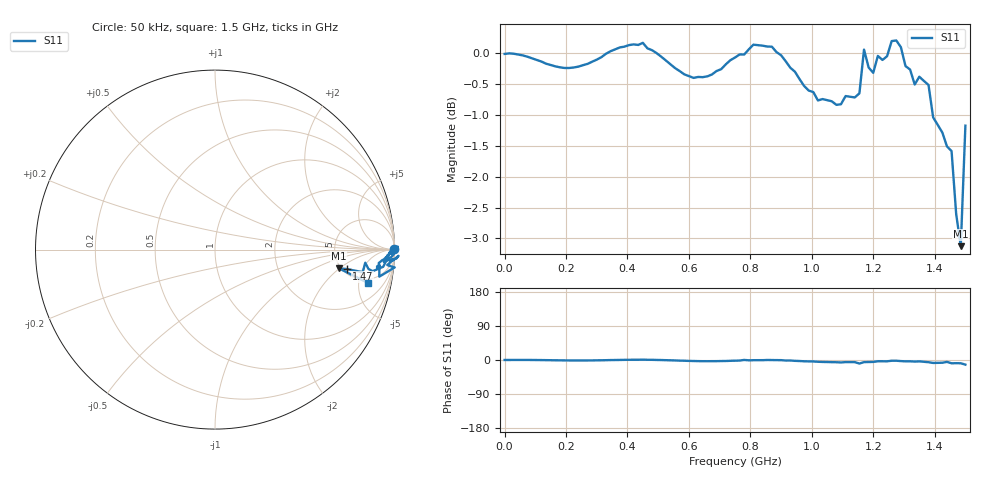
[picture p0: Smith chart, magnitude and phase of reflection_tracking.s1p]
! Created with skrf 1.8.0 (http://scikit-rf.org).
# Hz S RI R 50.0
!freq ReS11 ImS11
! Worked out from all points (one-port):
!   101 points, 50 kHz to 1.5 GHz, reference 50 ohm
!   lowest |S11| = -3.1 dB at 1.485 GHz (marker M1), VSWR 5.62, Z = 240 - j97.6 ohm
!   |S11| at or under -10 dB: nowhere
!   S11 on the Smith chart (normalised r, x): 50 kHz: open; 1.47 GHz: 5.43, -2.60; 1.5 GHz: 4.24, -6.64
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50000  0.9981 0.00121
1.950435e8  0.9722 -0.0179
3.750375e8  1.01 0.00263
4.50035e8  1.019 0.0161
5.70031e8  0.9663 -0.0276
6.60028e8  0.9558 -0.0533
7.50025e8  0.9909 -0.0312
7.80024e8  0.997 0.00345
8.70021e8  1.012 -0.00223
9.450185e8  0.9649 -0.0379
1.020016e9  0.9122 -0.0747
1.125012e9  0.9173 -0.0892
1.140012e9  0.9161 -0.0896
1.155012e9  0.9152 -0.1506
1.170011e9  1.001 -0.0992
1.20001e9  0.9598 -0.0858
1.21501e9  0.9928 -0.0566
1.275008e9  1.023 -0.0349
1.320006e9  0.9678 -0.0572
1.335006e9  0.9404 -0.0683
1.380004e9  0.9371 -0.0957
1.395004e9  0.8788 -0.1203
1.425002e9  0.8554 -0.1083
1.440002e9  0.8371 -0.0731
1.455002e9  0.8234 -0.1258
1.470001e9  0.7329 -0.1081
1.485e9  0.69 -0.1044
1.5e9  0.8534 -0.1856
